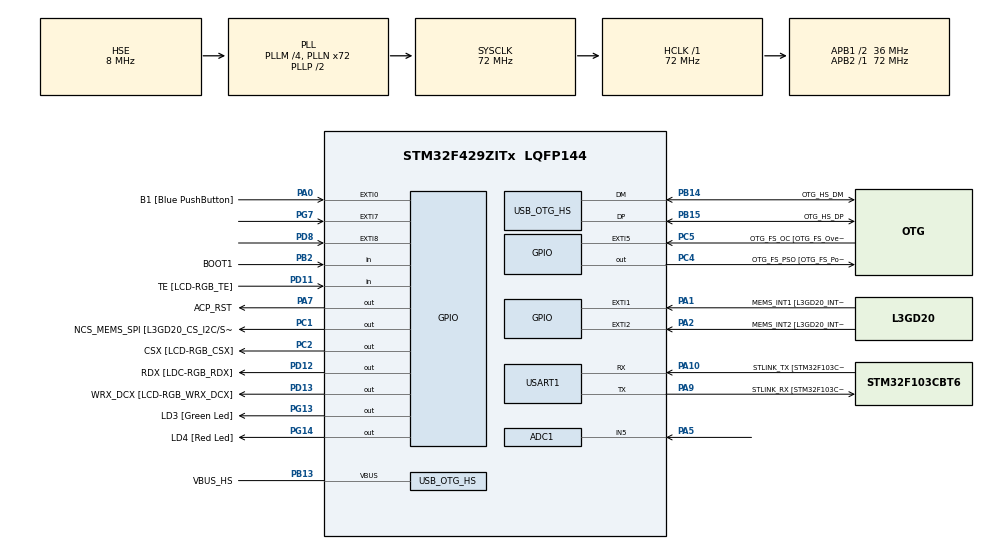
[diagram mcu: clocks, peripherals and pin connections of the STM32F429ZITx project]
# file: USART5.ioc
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ADC1.Channel-0\#ChannelRegularConversion=ADC_CHANNEL_5
ADC1.NbrOfConversionFlag=1
ADC1.Rank-0\#ChannelRegularConversion=1
ADC1.SamplingTime-0\#ChannelRegularConversion=ADC_SAMPLETIME_3CYCLES
ADC1.master=1
Mcu.Family=STM32F4
Mcu.Name=STM32F429ZITx
Mcu.Package=LQFP144
NVIC.OTG_HS_IRQn=true\:0\:0\:false\:false\:true\:true\:true\:true
NVIC.PriorityGroup=NVIC_PRIORITYGROUP_4
NVIC.TIM6_DAC_IRQn=true\:15\:0\:false\:false\:true\:false\:true\:true
NVIC.TimeBase=TIM6_DAC_IRQn
NVIC.TimeBaseIP=TIM6
PA0/WKUP.GPIO_Label=B1 [Blue PushButton]
PA0/WKUP.GPIO_ModeDefaultEXTI=GPIO_MODE_EVT_RISING
PA0/WKUP.GPIO_PuPd=GPIO_NOPULL
PA0/WKUP.Signal=GPXTI0
PA1.GPIO_Label=MEMS_INT1 [L3GD20_INT1]
PA1.GPIO_ModeDefaultEXTI=GPIO_MODE_EVT_RISING
PA1.GPIO_PuPd=GPIO_NOPULL
PA1.Signal=GPXTI1
PA10.GPIO_Label=STLINK_TX [STM32F103CBT6_PA2]
PA10.Mode=Asynchronous
PA10.Signal=USART1_RX
PA13.GPIO_Label=SWDIO
PA13.Mode=Serial_Wire
PA13.Signal=SYS_JTMS-SWDIO
PA14.GPIO_Label=SWCLK
PA14.Mode=Serial_Wire
PA14.Signal=SYS_JTCK-SWCLK
PA2.GPIO_Label=MEMS_INT2 [L3GD20_INT2]
PA2.GPIO_ModeDefaultEXTI=GPIO_MODE_EVT_RISING
PA2.GPIO_PuPd=GPIO_NOPULL
PA2.Signal=GPXTI2
PA5.Signal=ADCx_IN5
PA7.GPIO_Label=ACP_RST
PA7.GPIO_Mode=GPIO_MODE_OUTPUT_PP
PA7.GPIO_PuPd=GPIO_NOPULL
PA7.GPIO_Speed=GPIO_SPEED_FREQ_LOW
PA7.Signal=GPIO_Output
PA9.GPIO_Label=STLINK_RX [STM32F103CBT6_PA3]
PA9.Mode=Asynchronous
PA9.Signal=USART1_TX
PB13.GPIO_Label=VBUS_HS
PB13.GPIO_Mode=GPIO_MODE_INPUT
PB13.GPIO_PuPd=GPIO_NOPULL
PB13.Mode=Activate_VBUS_FS
PB13.Signal=USB_OTG_HS_VBUS
PB14.GPIO_Label=OTG_HS_DM
PB14.GPIO_Mode=GPIO_MODE_AF_PP
PB14.GPIO_PuPd=GPIO_NOPULL
PB14.GPIO_Speed=GPIO_SPEED_FREQ_LOW
PB14.Mode=Host_FS
PB14.Signal=USB_OTG_HS_DM
PB15.GPIO_Label=OTG_HS_DP
PB15.GPIO_Mode=GPIO_MODE_AF_PP
PB15.GPIO_PuPd=GPIO_NOPULL
PB15.GPIO_Speed=GPIO_SPEED_FREQ_LOW
PB15.Mode=Host_FS
PB15.Signal=USB_OTG_HS_DP
PB2/BOOT1.GPIO_Label=BOOT1
PB2/BOOT1.GPIO_Mode=GPIO_MODE_INPUT
PB2/BOOT1.GPIO_PuPd=GPIO_NOPULL
PB2/BOOT1.Signal=GPIO_Input
PC1.GPIO_Label=NCS_MEMS_SPI [L3GD20_CS_I2C/SPI]
PC1.GPIO_Mode=GPIO_MODE_OUTPUT_PP
PC1.GPIO_PuPd=GPIO_NOPULL
PC1.GPIO_Speed=GPIO_SPEED_FREQ_LOW
PC1.Signal=GPIO_Output
PC2.GPIO_Label=CSX [LCD-RGB_CSX]
PC2.GPIO_Mode=GPIO_MODE_OUTPUT_PP
PC2.GPIO_PuPd=GPIO_NOPULL
PC2.GPIO_Speed=GPIO_SPEED_FREQ_LOW
PC2.Signal=GPIO_Output
PC4.GPIO_Label=OTG_FS_PSO [OTG_FS_PowerSwitchOn]
PC4.GPIO_Mode=GPIO_MODE_OUTPUT_PP
PC4.GPIO_PuPd=GPIO_NOPULL
PC4.GPIO_Speed=GPIO_SPEED_FREQ_LOW
PC4.Signal=GPIO_Output
PC5.GPIO_Label=OTG_FS_OC [OTG_FS_OverCurrent]
PC5.GPIO_ModeDefaultEXTI=GPIO_MODE_EVT_RISING
PC5.Signal=GPXTI5
PD11.GPIO_Label=TE [LCD-RGB_TE]
PD11.GPIO_Mode=GPIO_MODE_INPUT
PD11.GPIO_PuPd=GPIO_NOPULL
PD11.Signal=GPIO_Input
PD12.GPIO_Label=RDX [LDC-RGB_RDX]
PD12.GPIO_Mode=GPIO_MODE_OUTPUT_PP
PD12.GPIO_PuPd=GPIO_NOPULL
PD12.GPIO_Speed=GPIO_SPEED_FREQ_LOW
PD12.Signal=GPIO_Output
PD13.GPIO_Label=WRX_DCX [LCD-RGB_WRX_DCX]
PD13.GPIO_Mode=GPIO_MODE_OUTPUT_PP
PD13.GPIO_PuPd=GPIO_NOPULL
PD13.GPIO_Speed=GPIO_SPEED_FREQ_LOW
PD13.Signal=GPIO_Output
PD8.Signal=GPXTI8
PG13.GPIO_Label=LD3 [Green Led]
PG13.GPIO_Mode=GPIO_MODE_OUTPUT_PP
PG13.GPIO_PuPd=GPIO_NOPULL
PG13.GPIO_Speed=GPIO_SPEED_FREQ_LOW
PG13.Signal=GPIO_Output
PG14.GPIO_Label=LD4 [Red Led]
PG14.GPIO_Mode=GPIO_MODE_OUTPUT_PP
PG14.GPIO_PuPd=GPIO_NOPULL
PG14.GPIO_Speed=GPIO_SPEED_FREQ_LOW
PG14.Signal=GPIO_Output
PG7.Signal=GPXTI7
PH0/OSC_IN.GPIO_Label=PH0-OSC_IN
PH0/OSC_IN.Mode=HSE-External-Oscillator
PH0/OSC_IN.Signal=RCC_OSC_IN
PH1/OSC_OUT.GPIO_Label=PH1-OSC_OUT
PH1/OSC_OUT.Mode=HSE-External-Oscillator
PH1/OSC_OUT.Signal=RCC_OSC_OUT
ProjectManager.HeapSize=0x200
ProjectManager.StackSize=0x400
ProjectManager.TargetToolchain=STM32CubeIDE
RCC.48MHZClocksFreq_Value=48000000
RCC.AHBFreq_Value=72000000
RCC.APB1CLKDivider=RCC_HCLK_DIV2
RCC.APB1Freq_Value=36000000
RCC.APB1TimFreq_Value=72000000
RCC.APB2Freq_Value=72000000
RCC.APB2TimFreq_Value=72000000
RCC.CortexFreq_Value=72000000
RCC.HCLKFreq_Value=72000000
RCC.HSE_VALUE=8000000
RCC.HSI_VALUE=16000000
RCC.LSE_VALUE=32768
RCC.PLLM=4
RCC.PLLN=72
RCC.PLLQ=3
RCC.PLLSAIN=50
RCC.SYSCLKFreq_VALUE=72000000
RCC.SYSCLKSource=RCC_SYSCLKSOURCE_PLLCLK
RCC.VCOOutputFreq_Value=144000000
SH.ADCx_IN5.0=ADC1_IN5,IN5
USART1.VirtualMode=VM_ASYNC
USB_OTG_HS.VirtualMode-Host_FS=Host_FS
VP_SYS_VS_tim6.Mode=TIM6
board=STM32F429I-DISC1

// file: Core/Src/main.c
/* USER CODE BEGIN Header */
/**
  ******************************************************************************
  * @file           : main.c
  * @brief          : Main program body
  ******************************************************************************
  * @attention
  *
  * Copyright (c) 2023 STMicroelectronics.
  * All rights reserved.
  *
  * This software is licensed under terms that can be found in the LICENSE file
  * in the root directory of this software component.
  * If no LICENSE file comes with this software, it is provided AS-IS.
  *
  ******************************************************************************
  */
/* USER CODE END Header */
#include "main.h"

/* USER CODE BEGIN Includes */
#include <stdio.h>
#include<stdlib.h>
#include "retarget.h"
#include<math.h>

/* USER CODE END Includes */

 ADC_HandleTypeDef hadc1;

UART_HandleTypeDef huart1;

HCD_HandleTypeDef hhcd_USB_OTG_HS;

void SystemClock_Config(void);
static void MX_GPIO_Init(void);
static void MX_USART1_UART_Init(void);
static void MX_USB_OTG_HS_HCD_Init(void);
static void MX_ADC1_Init(void);

int main(void)
{
  /* USER CODE BEGIN 1 */
	  char buf[10];//cremamos un vector de 100 caracteress para poder imprimir mensajes printf-usart
      int lux; //PERMITE EVITAR QUE PONER LA FUNCION DE VALOR DEL ADC
      float Vt;//hacemoos una conversion a temperatura
      float t;//temperatura neta
  /* USER CODE END 1 */

  /* MCU Configuration--------------------------------------------------------*/

  /* Reset of all peripherals, Initializes the Flash interface and the Systick. */
  HAL_Init();

  /* Configure the system clock */
  SystemClock_Config();

  /* Initialize all configured peripherals */
  MX_GPIO_Init();
  MX_USART1_UART_Init();
  MX_USB_OTG_HS_HCD_Init();
  MX_ADC1_Init();
  /* USER CODE BEGIN 2 */
  RetargetInit(&huart1);
  /* USER CODE END 2 */

  /* Infinite loop */
  /* USER CODE BEGIN WHILE */
  while (1)
  {
//ADC
//PARA ESTE FORMATO USAR ESTE FORMATO USART CONSULTAR: https://shawnhymel.com/1873/how-to-use-printf-on-stm32/
	  HAL_ADC_Start(&hadc1);  //llamo a la funcion del ADC
	  HAL_ADC_PollForConversion(&hadc1,HAL_MAX_DELAY);//hacemos un poleo de el ADC
	  lux =  HAL_ADC_GetValue(&hadc1);//mandamos el valor directo en el ADC
	  Vt= lux/(float)4096*3.3;
	  t=Vt*100.0-3;
	        //  printf("\r\nADC: %d\r\n ",lux); //ADC CONVERSION
	         printf("%04.4f",t);//TEMPERATURA

	      //   printf("\r\nTemperatura: %d\r\n ",(float)lux);//permite ver el codigo en punto floatante
             HAL_Delay(40);

	     }

	     return 0;
	  }
    /* USER CODE END WHILE */

void SystemClock_Config(void)
{
  RCC_OscInitTypeDef RCC_OscInitStruct = {0};
  RCC_ClkInitTypeDef RCC_ClkInitStruct = {0};

  /** Configure the main internal regulator output voltage
  */
  __HAL_RCC_PWR_CLK_ENABLE();
  __HAL_PWR_VOLTAGESCALING_CONFIG(PWR_REGULATOR_VOLTAGE_SCALE3);

  /** Initializes the RCC Oscillators according to the specified parameters
  * in the RCC_OscInitTypeDef structure.
  */
  RCC_OscInitStruct.OscillatorType = RCC_OSCILLATORTYPE_HSE;
  RCC_OscInitStruct.HSEState = RCC_HSE_ON;
  RCC_OscInitStruct.PLL.PLLState = RCC_PLL_ON;
  RCC_OscInitStruct.PLL.PLLSource = RCC_PLLSOURCE_HSE;
  RCC_OscInitStruct.PLL.PLLM = 4;
  RCC_OscInitStruct.PLL.PLLN = 72;
  RCC_OscInitStruct.PLL.PLLP = RCC_PLLP_DIV2;
  RCC_OscInitStruct.PLL.PLLQ = 3;
  if (HAL_RCC_OscConfig(&RCC_OscInitStruct) != HAL_OK)
  {
    Error_Handler();
  }

  /** Initializes the CPU, AHB and APB buses clocks
  */
  RCC_ClkInitStruct.ClockType = RCC_CLOCKTYPE_HCLK|RCC_CLOCKTYPE_SYSCLK
                              |RCC_CLOCKTYPE_PCLK1|RCC_CLOCKTYPE_PCLK2;
  RCC_ClkInitStruct.SYSCLKSource = RCC_SYSCLKSOURCE_PLLCLK;
  RCC_ClkInitStruct.AHBCLKDivider = RCC_SYSCLK_DIV1;
  RCC_ClkInitStruct.APB1CLKDivider = RCC_HCLK_DIV2;
  RCC_ClkInitStruct.APB2CLKDivider = RCC_HCLK_DIV1;

  if (HAL_RCC_ClockConfig(&RCC_ClkInitStruct, FLASH_LATENCY_2) != HAL_OK)
  {
    Error_Handler();
  }
}

static void MX_ADC1_Init(void)
{

  ADC_ChannelConfTypeDef sConfig = {0};

  /** Configure the global features of the ADC (Clock, Resolution, Data Alignment and number of conversion)
  */
  hadc1.Instance = ADC1;
  hadc1.Init.ClockPrescaler = ADC_CLOCK_SYNC_PCLK_DIV2;
  hadc1.Init.Resolution = ADC_RESOLUTION_12B;
  hadc1.Init.ScanConvMode = DISABLE;
  hadc1.Init.ContinuousConvMode = DISABLE;
  hadc1.Init.DiscontinuousConvMode = DISABLE;
  hadc1.Init.ExternalTrigConvEdge = ADC_EXTERNALTRIGCONVEDGE_NONE;
  hadc1.Init.ExternalTrigConv = ADC_SOFTWARE_START;
  hadc1.Init.DataAlign = ADC_DATAALIGN_RIGHT;
  hadc1.Init.NbrOfConversion = 1;
  hadc1.Init.DMAContinuousRequests = DISABLE;
  hadc1.Init.EOCSelection = ADC_EOC_SINGLE_CONV;
  if (HAL_ADC_Init(&hadc1) != HAL_OK)
  {
    Error_Handler();
  }

  /** Configure for the selected ADC regular channel its corresponding rank in the sequencer and its sample time.
  */
  sConfig.Channel = ADC_CHANNEL_5;
  sConfig.Rank = 1;
  sConfig.SamplingTime = ADC_SAMPLETIME_3CYCLES;
  if (HAL_ADC_ConfigChannel(&hadc1, &sConfig) != HAL_OK)
  {
    Error_Handler();
  }

}

static void MX_USART1_UART_Init(void)
{

  huart1.Instance = USART1;
  huart1.Init.BaudRate = 115200;
  huart1.Init.WordLength = UART_WORDLENGTH_8B;
  huart1.Init.StopBits = UART_STOPBITS_1;
  huart1.Init.Parity = UART_PARITY_NONE;
  huart1.Init.Mode = UART_MODE_TX_RX;
  huart1.Init.HwFlowCtl = UART_HWCONTROL_NONE;
  huart1.Init.OverSampling = UART_OVERSAMPLING_16;
  if (HAL_UART_Init(&huart1) != HAL_OK)
  {
    Error_Handler();
  }

}

static void MX_USB_OTG_HS_HCD_Init(void)
{

  hhcd_USB_OTG_HS.Instance = USB_OTG_HS;
  hhcd_USB_OTG_HS.Init.Host_channels = 12;
  hhcd_USB_OTG_HS.Init.speed = HCD_SPEED_FULL;
  hhcd_USB_OTG_HS.Init.dma_enable = DISABLE;
  hhcd_USB_OTG_HS.Init.phy_itface = USB_OTG_EMBEDDED_PHY;
  hhcd_USB_OTG_HS.Init.Sof_enable = DISABLE;
  hhcd_USB_OTG_HS.Init.low_power_enable = DISABLE;
  hhcd_USB_OTG_HS.Init.vbus_sensing_enable = DISABLE;
  hhcd_USB_OTG_HS.Init.use_external_vbus = DISABLE;
  if (HAL_HCD_Init(&hhcd_USB_OTG_HS) != HAL_OK)
  {
    Error_Handler();
  }

}

static void MX_GPIO_Init(void)
{
  GPIO_InitTypeDef GPIO_InitStruct = {0};

  /* GPIO Ports Clock Enable */
  __HAL_RCC_GPIOH_CLK_ENABLE();
  __HAL_RCC_GPIOC_CLK_ENABLE();
  __HAL_RCC_GPIOA_CLK_ENABLE();
  __HAL_RCC_GPIOB_CLK_ENABLE();
  __HAL_RCC_GPIOD_CLK_ENABLE();
  __HAL_RCC_GPIOG_CLK_ENABLE();

  /*Configure GPIO pin Output Level */
  HAL_GPIO_WritePin(GPIOC, NCS_MEMS_SPI_Pin|CSX_Pin|OTG_FS_PSO_Pin, GPIO_PIN_RESET);

  /*Configure GPIO pin Output Level */
  HAL_GPIO_WritePin(ACP_RST_GPIO_Port, ACP_RST_Pin, GPIO_PIN_RESET);

  /*Configure GPIO pin Output Level */
  HAL_GPIO_WritePin(GPIOD, RDX_Pin|WRX_DCX_Pin, GPIO_PIN_RESET);

  /*Configure GPIO pin Output Level */
  HAL_GPIO_WritePin(GPIOG, LD3_Pin|LD4_Pin, GPIO_PIN_RESET);

  /*Configure GPIO pins : NCS_MEMS_SPI_Pin CSX_Pin OTG_FS_PSO_Pin */
  GPIO_InitStruct.Pin = NCS_MEMS_SPI_Pin|CSX_Pin|OTG_FS_PSO_Pin;
  GPIO_InitStruct.Mode = GPIO_MODE_OUTPUT_PP;
  GPIO_InitStruct.Pull = GPIO_NOPULL;
  GPIO_InitStruct.Speed = GPIO_SPEED_FREQ_LOW;
  HAL_GPIO_Init(GPIOC, &GPIO_InitStruct);

  /*Configure GPIO pins : B1_Pin MEMS_INT1_Pin MEMS_INT2_Pin */
  GPIO_InitStruct.Pin = B1_Pin|MEMS_INT1_Pin|MEMS_INT2_Pin;
  GPIO_InitStruct.Mode = GPIO_MODE_EVT_RISING;
  GPIO_InitStruct.Pull = GPIO_NOPULL;
  HAL_GPIO_Init(GPIOA, &GPIO_InitStruct);

  /*Configure GPIO pin : ACP_RST_Pin */
  GPIO_InitStruct.Pin = ACP_RST_Pin;
  GPIO_InitStruct.Mode = GPIO_MODE_OUTPUT_PP;
  GPIO_InitStruct.Pull = GPIO_NOPULL;
  GPIO_InitStruct.Speed = GPIO_SPEED_FREQ_LOW;
  HAL_GPIO_Init(ACP_RST_GPIO_Port, &GPIO_InitStruct);

  /*Configure GPIO pin : OTG_FS_OC_Pin */
  GPIO_InitStruct.Pin = OTG_FS_OC_Pin;
  GPIO_InitStruct.Mode = GPIO_MODE_EVT_RISING;
  GPIO_InitStruct.Pull = GPIO_NOPULL;
  HAL_GPIO_Init(OTG_FS_OC_GPIO_Port, &GPIO_InitStruct);

  /*Configure GPIO pin : BOOT1_Pin */
  GPIO_InitStruct.Pin = BOOT1_Pin;
  GPIO_InitStruct.Mode = GPIO_MODE_INPUT;
  GPIO_InitStruct.Pull = GPIO_NOPULL;
  HAL_GPIO_Init(BOOT1_GPIO_Port, &GPIO_InitStruct);

  /*Configure GPIO pin : PD8 */
  GPIO_InitStruct.Pin = GPIO_PIN_8;
  GPIO_InitStruct.Mode = GPIO_MODE_IT_RISING;
  GPIO_InitStruct.Pull = GPIO_NOPULL;
  HAL_GPIO_Init(GPIOD, &GPIO_InitStruct);

  /*Configure GPIO pin : TE_Pin */
  GPIO_InitStruct.Pin = TE_Pin;
  GPIO_InitStruct.Mode = GPIO_MODE_INPUT;
  GPIO_InitStruct.Pull = GPIO_NOPULL;
  HAL_GPIO_Init(TE_GPIO_Port, &GPIO_InitStruct);

  /*Configure GPIO pins : RDX_Pin WRX_DCX_Pin */
  GPIO_InitStruct.Pin = RDX_Pin|WRX_DCX_Pin;
  GPIO_InitStruct.Mode = GPIO_MODE_OUTPUT_PP;
  GPIO_InitStruct.Pull = GPIO_NOPULL;
  GPIO_InitStruct.Speed = GPIO_SPEED_FREQ_LOW;
  HAL_GPIO_Init(GPIOD, &GPIO_InitStruct);

  /*Configure GPIO pin : PG7 */
  GPIO_InitStruct.Pin = GPIO_PIN_7;
  GPIO_InitStruct.Mode = GPIO_MODE_IT_RISING;
  GPIO_InitStruct.Pull = GPIO_NOPULL;
  HAL_GPIO_Init(GPIOG, &GPIO_InitStruct);

  /*Configure GPIO pins : LD3_Pin LD4_Pin */
  GPIO_InitStruct.Pin = LD3_Pin|LD4_Pin;
  GPIO_InitStruct.Mode = GPIO_MODE_OUTPUT_PP;
  GPIO_InitStruct.Pull = GPIO_NOPULL;
  GPIO_InitStruct.Speed = GPIO_SPEED_FREQ_LOW;
  HAL_GPIO_Init(GPIOG, &GPIO_InitStruct);

}

/* USER CODE BEGIN 4 */
// Se utililza para poder codigo emergente para funcioes

/* USER CODE END 4 */

void HAL_TIM_PeriodElapsedCallback(TIM_HandleTypeDef *htim)
{
  if (htim->Instance == TIM6) {
    HAL_IncTick();
  }
}

void Error_Handler(void)
{
  __disable_irq();
  while (1)
  {
  }
}
